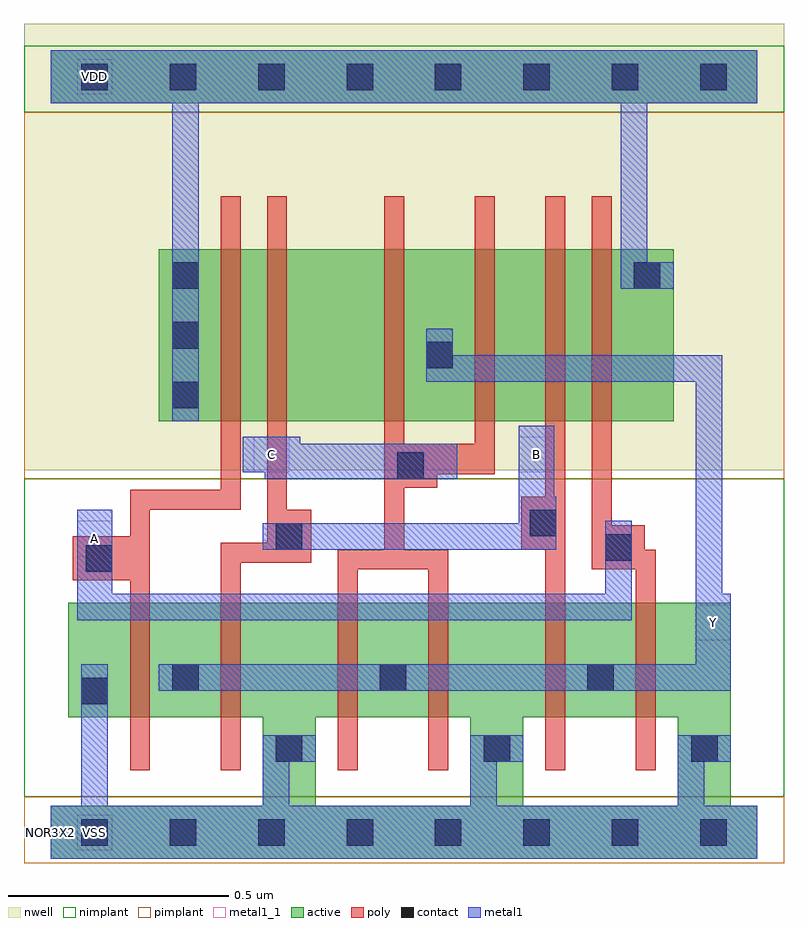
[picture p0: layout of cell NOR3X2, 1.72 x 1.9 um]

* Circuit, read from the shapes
.subckt NOR3X2 A B C VDD VSS Y
M1 Y A VSS VSS nfet w=0.26u l=0.045u m=2
M2 VSS B Y VSS nfet w=0.26u l=0.045u m=2
M3 Y C VSS VSS nfet w=0.26u l=0.045u m=2
M4 n1 A VDD VDD pfet w=0.39u l=0.045u
M5 n2 B n1 VDD pfet w=0.39u l=0.045u
M6 Y C n2 VDD pfet w=0.39u l=0.045u
M7 n3 C Y VDD pfet w=0.39u l=0.045u
M8 n4 B n3 VDD pfet w=0.39u l=0.045u
M9 VDD A n4 VDD pfet w=0.39u l=0.045u
.ends

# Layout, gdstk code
import gdstk
lib = gdstk.Library(unit=1e-6, precision=5e-10)
def R(c, l, rs):  # rectangles x0, y0, x1, y1
    for r in rs: c.add(gdstk.rectangle(r[:2], r[2:], *l))
def A(c, l, x, y, w, h, nx, ny, dx, dy):  # array of equal rectangles
    R(c, l, [(x+i*dx, y+j*dy, x+i*dx+w, y+j*dy+h) for i in range(nx) for j in range(ny)])
def P(c, l, *ps):  # polygons
    for p in ps: c.add(gdstk.Polygon(p, *l))
active = (1, 0)
nwell = (2, 0)
poly = (3, 0)
nimplant = (4, 0)
pimplant = (5, 0)
contact = (6, 0)
metal1 = (7, 0)
metal1_1 = (7, 1)

nor3x2 = lib.new_cell('NOR3X2')
R(nor3x2, active, [(0.245,0.93,1.41,1.32), (0,1.65,1.6,1.77)])
P(nor3x2, active, [(0.04,0.52),(1.54,0.52),(1.54,0.06),(1.6,0.06),(1.6,-0.06),(0,-0.06),(0,0.06),(0.48,0.06),(0.48,0.26),(0.6,0.26),(0.6,0.06),(0.95,0.06),(0.95,0.26),(1.07,0.26),(1.07,0.06),(1.42,0.06),(1.42,0.26),(0.04,0.26)])
R(nor3x2, nwell, [(-0.06,0.82,1.66,1.83)])
P(nor3x2, poly, [(0.385,1.44),(0.43,1.44),(0.43,0.73),(0.225,0.73),(0.225,0.14),(0.18,0.14),(0.18,0.57),(0.05,0.57),(0.05,0.67),(0.18,0.67),(0.18,0.775),(0.385,0.775)],
  [(0.49,1.44),(0.535,1.44),(0.535,0.73),(0.59,0.73),(0.59,0.61),(0.43,0.61),(0.43,0.14),(0.385,0.14),(0.385,0.655),(0.49,0.655)],
  [(0.755,1.44),(0.8,1.44),(0.8,0.88),(0.96,0.88),(0.96,1.44),(1.005,1.44),(1.005,0.81),(0.875,0.81),(0.875,0.78),(0.8,0.78),(0.8,0.64),(0.9,0.64),(0.9,0.14),(0.855,0.14),(0.855,0.595),(0.695,0.595),(0.695,0.14),(0.65,0.14),(0.65,0.64),(0.755,0.64)],
  [(1.12,1.44),(1.165,1.44),(1.165,0.14),(1.12,0.14),(1.12,0.64),(1.065,0.64),(1.065,0.76),(1.12,0.76)],
  [(1.225,1.44),(1.27,1.44),(1.27,0.695),(1.345,0.695),(1.345,0.64),(1.37,0.64),(1.37,0.14),(1.325,0.14),(1.325,0.595),(1.225,0.595)])
R(nor3x2, nimplant, [(-0.06,0.08,1.66,0.8), (-0.06,1.63,1.66,1.78)])
R(nor3x2, pimplant, [(-0.06,-0.07,1.66,0.08), (-0.06,0.8,1.66,1.63)])
A(nor3x2, contact, 0.07, -0.03, 0.06, 0.06, 8, 2, 0.2, 1.71)
A(nor3x2, contact, 0.51, 0.16, 0.06, 0.06, 3, 1, 0.47, 0)
A(nor3x2, contact, 0.275, 0.32, 0.06, 0.06, 3, 1, 0.47, 0)
A(nor3x2, contact, 0.275, 0.96, 0.06, 0.06, 1, 3, 0, 0.135)
R(nor3x2, contact, [(0.07,0.29,0.13,0.35), (0.08,0.59,0.14,0.65), (1.255,0.615,1.315,0.675), (0.51,0.64,0.57,0.7), (1.085,0.67,1.145,0.73), (0.785,0.8,0.845,0.86), (0.85,1.05,0.91,1.11), (1.32,1.23,1.38,1.29)])
P(nor3x2, metal1, [(0,1.77),(1.6,1.77),(1.6,1.65),(1.35,1.65),(1.35,1.29),(1.41,1.29),(1.41,1.23),(1.29,1.23),(1.29,1.65),(0.335,1.65),(0.335,0.93),(0.275,0.93),(0.275,1.65),(0,1.65)],
  [(0.85,1.14),(0.91,1.14),(0.91,1.08),(1.52,1.08),(1.52,0.54),(1.54,0.54),(1.54,0.32),(0.245,0.32),(0.245,0.38),(1.46,0.38),(1.46,1.02),(0.85,1.02)],
  [(0.435,0.895),(0.565,0.895),(0.565,0.88),(0.92,0.88),(0.92,0.8),(0.485,0.8),(0.485,0.815),(0.435,0.815)],
  [(1.06,0.92),(1.14,0.92),(1.14,0.76),(1.145,0.76),(1.145,0.64),(0.48,0.64),(0.48,0.7),(1.06,0.7)],
  [(0.06,0.73),(0.14,0.73),(0.14,0.54),(1.255,0.54),(1.255,0.705),(1.315,0.705),(1.315,0.48),(0.06,0.48)],
  [(0.07,0.38),(0.13,0.38),(0.13,0.06),(0.48,0.06),(0.48,0.22),(0.6,0.22),(0.6,0.16),(0.54,0.16),(0.54,0.06),(0.95,0.06),(0.95,0.22),(1.07,0.22),(1.07,0.16),(1.01,0.16),(1.01,0.06),(1.42,0.06),(1.42,0.22),(1.54,0.22),(1.54,0.16),(1.48,0.16),(1.48,0.06),(1.6,0.06),(1.6,-0.06),(0,-0.06),(0,0.06),(0.07,0.06)])
R(nor3x2, metal1_1, [(0.06,-0.04,0.14,0.04), (1.46,0.435,1.54,0.515), (0.06,0.625,0.14,0.705), (0.46,0.815,0.54,0.895), (1.06,0.815,1.14,0.895), (0.06,1.67,0.14,1.75)])
nor3x2.add(gdstk.Label('Y', (1.5,0.475), layer=7, texttype=1))
nor3x2.add(gdstk.Label('C', (0.5,0.855), layer=7, texttype=1))
nor3x2.add(gdstk.Label('B', (1.1,0.855), layer=7, texttype=1))
nor3x2.add(gdstk.Label('A', (0.1,0.665), layer=7, texttype=1))
nor3x2.add(gdstk.Label('VDD', (0.1,1.71), layer=7, texttype=1))
nor3x2.add(gdstk.Label('VSS', (0.1,0), layer=7, texttype=1))
nor3x2.add(gdstk.Label('NOR3X2', (0,0), layer=63, texttype=0))

lib.write_gds('NOR3X2.gds')
